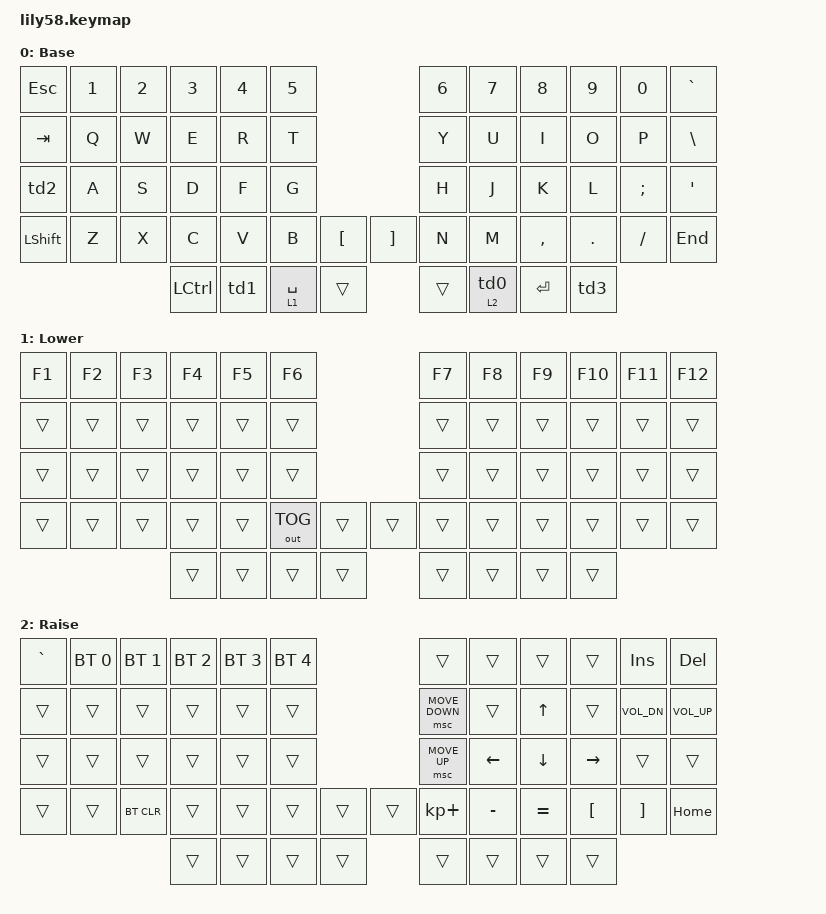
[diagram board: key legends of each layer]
/*
 * Copyright (c) 2020 The ZMK Contributors
 *
 * SPDX-License-Identifier: MIT
 */

#include <behaviors.dtsi>
#include <dt-bindings/zmk/keys.h>
#include <dt-bindings/zmk/bt.h>
#include <dt-bindings/zmk/ext_power.h>
#include <dt-bindings/zmk/outputs.h>

#define ZMK_POINTING_DEFAULT_MOVE_VAL 300  // default: 600
#define ZMK_POINTING_DEFAULT_SCRL_VAL 10    // default: 10

#include <dt-bindings/zmk/pointing.h>

 / {
     behaviors {
      lt0: layer_tap_0 {
        compatible = "zmk,behavior-hold-tap";
        #binding-cells = <2>;
        flavor = "hold-preferred";
        tapping-term-ms = <150>;
        quick-tap-ms = <150>;
        bindings = <&mo >, <&td0>;
        display-name = "Layer-Tap";
        };

     td0: tap_dance_0 {
       compatible = "zmk,behavior-tap-dance";
       #binding-cells = <0>;
       tapping-term-ms = <200>;
       bindings = <&kp BACKSPACE>, <&kp LC(BACKSPACE)>;
     };

     td1: lgui_alt {
       compatible = "zmk,behavior-tap-dance";
       #binding-cells = <0>;
       tapping-term-ms = <200>;
       bindings = <&kp LALT>, <&kp LGUI>;
     };

    
    
     td2: MO2_CAPSLOCK {
       compatible = "zmk,behavior-tap-dance";
       #binding-cells = <0>;
       tapping-term-ms = <200>;
       bindings = <&mo 2>, < &kp CAPS>;
     };

     td3: menu_win {
       compatible = "zmk,behavior-tap-dance";
       #binding-cells = <0>;
       tapping-term-ms = <200>;
       bindings = <&kp K_CONTEXT_MENU>, <&kp LGUI>;
     };
   };

     keymap {
         compatible = "zmk,keymap";

         default_layer {
          display-name = "Base";
// ------------------------------------------------------------------------------------------------------------
// |  ESC  |  1  |  2  |  3  |  4  |  5  |                    |  6  |  7  |  8  |  9  |  0  |   `   |
// |  TAB  |  Q  |  W  |  E  |  R  |  T  |                    |  Y  |  U  |  I  |  O  |  P  |   \   |
// |CPS/MO2|  A  |  S  |  D  |  F  |  G  |                    |  H  |  J  |  K  |  L  |  ;  |   '   |
// | SHIFT |  Z  |  X  |  C  |  V  |  B  |  [  |   ]  |       |  N  |  M  |  ,  |  .  |  /  |  END  |
//                 | CTRL |ALT/GUI|LT1(SPC)|  ___  |     |  ___  |LT2(BSP)| ENTER | MENU |
             bindings = <
 &kp ESC   &kp N1 &kp N2 &kp N3   &kp N4   &kp N5                     &kp N6 &kp N7   &kp N8    &kp N9  &kp N0   &kp GRAVE
 &kp TAB   &kp Q  &kp W  &kp E    &kp R    &kp T                      &kp Y  &kp U    &kp I     &kp O   &kp P    &kp BACKSLASH
 &td2      &kp A  &kp S  &kp D    &kp F    &kp G                      &kp H  &kp J    &kp K     &kp L   &kp SEMI &kp SQT
 &kp LSHFT &kp Z  &kp X  &kp C    &kp V    &kp B  &kp LBKT   &kp RBKT &kp N  &kp M    &kp COMMA &kp DOT &kp FSLH &kp END
                         &kp LCTRL &td1 &lt 1 SPACE   &trans  &trans &lt0 2 0     &kp ENTER &td3
             >;

              
         };

         lower_layer {
          display-name = "Lower";
// ------------------------------------------------------------------------------------------------------------
// |  F1   |  F2 |  F3 |  F4 |  F5 |  F6 |                    |  F7  |  F8  |  F9  | F10  | F11  | F12  |
// |       |     |     |     |     |     |                    |      |      |      |      |      |      |
// |       |     |     |     |     |     |                    |      |      |      |      |      |      |
// |       |     |     |     |     |     |  ___  |  ___  |    |      |      |      |      |      |      |
//                 |     |     |     |  ___  |       |  ___  |     |     |     |
             bindings = <
   &kp F1 &kp F2 &kp F3 &kp F4 &kp F5 &kp F6                    &kp F7 &kp F8 &kp F9 &kp F10 &kp F11 &kp F12
   &trans &trans &trans &trans &trans &trans                    &trans &trans &trans &trans  &trans  &trans
   &trans &trans &trans &trans &trans &trans                    &trans &trans &trans &trans  &trans  &trans
   &trans &trans &trans &trans &trans &out OUT_TOG  &trans  &trans    &trans &trans &trans &trans  &trans  &trans
                         &trans    &trans    &trans    &trans    &trans     &trans      &trans      &trans
 >;

             
         };

         raise_layer {
          display-name = "Raise";
// ------------------------------------------------------------------------------------------------------------
// | BTCLR | BT0 | BT1 | BT2 | BT3 | BT4 |                    |      |      |      |      | INS  | DEL  |
// |       |     |     |     |     |     |                    |SCRL_DN|      |  UP  |      | VOL- | VOL+ |
// |       |     |     |     |     |     |                    |SCRL_UP| LEFT | DOWN |RIGHT |      |      |
// |       |     |     |     |     |     |  ___  |  ___  |    | KP+  |  -   |  =   |  [   |  ]   | HOME |
//                 |     |     |     |  ___  |       |  ___  |     |     |     |
             bindings = <
         &kp GRAVE  &bt BT_SEL 0 &bt BT_SEL 1 &bt BT_SEL 2 &bt BT_SEL 3 &bt BT_SEL 4    &trans &trans &trans &trans  &kp INS &kp DEL
         
         &trans    &trans    &trans    &trans    &trans    &trans                        &msc MOVE_DOWN   &trans      &kp UP      &trans      &kp C_VOL_DN   &kp C_VOL_UP
         &trans    &trans    &trans    &trans    &trans    &trans                        &msc MOVE_UP   &kp LEFT    &kp DOWN    &kp RIGHT    &trans          &trans
         &trans    &trans    &bt BT_CLR      &trans    &trans    &trans    &trans    &trans     &kp KP_PLUS &kp MINUS   &kp EQUAL   &kp LBKT &kp RBKT    &kp HOME
                                       &trans    &trans    &trans    &trans    &trans     &trans      &trans      &trans
             >;

             
         };
     };
 };
